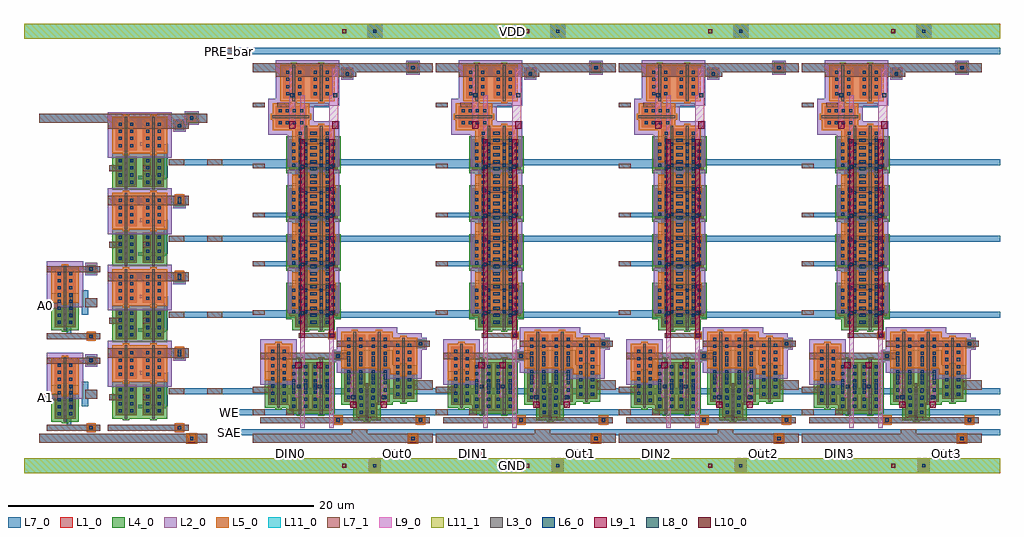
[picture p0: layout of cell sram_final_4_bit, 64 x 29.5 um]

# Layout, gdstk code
from math import pi, radians
import gdstk
lib = gdstk.Library(unit=1e-6, precision=5e-10)
def R(c, l, rs):  # rectangles x0, y0, x1, y1
    for r in rs: c.add(gdstk.rectangle(r[:2], r[2:], *l))
def A(c, l, x, y, w, h, nx, ny, dx, dy):  # array of equal rectangles
    R(c, l, [(x+i*dx, y+j*dy, x+i*dx+w, y+j*dy+h) for i in range(nx) for j in range(ny)])
L1_0 = (1, 0)
L2_0 = (2, 0)
L3_0 = (3, 0)
L4_0 = (4, 0)
L5_0 = (5, 0)
L6_0 = (6, 0)
L7_0 = (7, 0)
L7_1 = (7, 1)
L8_0 = (8, 0)
L9_0 = (9, 0)
L9_1 = (9, 1)
L10_0 = (10, 0)
L11_0 = (11, 0)
L11_1 = (11, 1)

pmos_cdns_793954044460 = lib.new_cell('pmos_CDNS_793954044460')
R(pmos_cdns_793954044460, L1_0, [(-0.6,0,0,2), (0,0,0.18,2), (0.18,0,0.78,2)])
R(pmos_cdns_793954044460, L2_0, [(-1.1,-0.5,1.28,2.5)])
R(pmos_cdns_793954044460, L3_0, [(0,-0.205,0.18,-0.2), (0,-0.2,0.18,0), (0,0,0.18,2), (0,2,0.18,2.2), (0,2.2,0.18,2.205)])
R(pmos_cdns_793954044460, L5_0, [(-0.12,-0.325,0.3,-0.2), (-0.8,-0.2,0.98,2.2), (-0.12,2.2,0.3,2.325)])
A(pmos_cdns_793954044460, L6_0, -0.4, 0.67, 0.2, 0.2, 1, 3, 0, 0.465)
A(pmos_cdns_793954044460, L6_0, 0.38, 0.67, 0.2, 0.2, 1, 3, 0, 0.465)
R(pmos_cdns_793954044460, L6_0, [(-0.4,0.2,-0.2,0.4), (0.38,0.2,0.58,0.4)])
R(pmos_cdns_793954044460, L7_0, [(-0.5,0.1,-0.1,1.9), (0.28,0.1,0.68,1.9)])

nmos_cdns_793954044461 = lib.new_cell('nmos_CDNS_793954044461')
R(nmos_cdns_793954044461, L1_0, [(-0.6,0,0,2), (0,0,0.18,2), (0.18,0,0.78,2)])
R(nmos_cdns_793954044461, L3_0, [(0,-0.205,0.18,-0.2), (0,-0.2,0.18,0), (0,0,0.18,2), (0,2,0.18,2.2), (0,2.2,0.18,2.205)])
R(nmos_cdns_793954044461, L4_0, [(-0.12,-0.325,0.3,-0.2), (-0.8,-0.2,0.98,2.2), (-0.12,2.2,0.3,2.325)])
A(nmos_cdns_793954044461, L6_0, -0.4, 0.67, 0.2, 0.2, 1, 3, 0, 0.465)
A(nmos_cdns_793954044461, L6_0, 0.38, 0.67, 0.2, 0.2, 1, 3, 0, 0.465)
R(nmos_cdns_793954044461, L6_0, [(-0.4,0.2,-0.2,0.4), (0.38,0.2,0.58,0.4)])
R(nmos_cdns_793954044461, L7_0, [(-0.5,0.1,-0.1,1.9), (0.28,0.1,0.68,1.9)])

inverter = lib.new_cell('inverter')
R(inverter, L1_0, [(2.2,-0.2,2.6,0.2), (2.2,4.2,2.6,4.6)])
R(inverter, L2_0, [(2,4,2.8,4.8)])
R(inverter, L3_0, [(1,1.2,1.2,2.8)])
R(inverter, L4_0, [(2.1,4.1,2.7,4.7)])
R(inverter, L5_0, [(2.1,-0.3,2.7,0.3)])
R(inverter, L6_0, [(2.29,-0.11,2.51,0.11), (2.29,4.29,2.51,4.51)])
R(inverter, L7_0, [(-0.5,-0.2,3,0.2), (-0.5,-0.2,3,0.2), (2.2,-0.2,2.6,0.2), (0.8,0.2,1.1,0.8), (1.8,1.4,2.2,3), (-0.4,1.8,0.2,2.2), (-0.4,1.8,0.8,2.2), (2,1.9,2.8,2.5), (0.8,3.6,1.1,4.2), (-0.5,4.2,3,4.6), (-0.5,4.2,3,4.6), (2.2,4.2,2.6,4.6)])
R(inverter, L7_1, [(-0.5,-0.2,3,0.2), (-0.4,1.8,0.2,2.2), (2,1.9,2.8,2.5), (-0.5,4.2,3,4.6)])
inverter.add(gdstk.Reference(pmos_cdns_793954044460, (0.6,2.4)))
inverter.add(gdstk.Reference(nmos_cdns_793954044461, (0.6,0.6)))
inverter.add(gdstk.Label('Inv_OUT', (2.4,2.2), layer=7, texttype=3))
inverter.add(gdstk.Label('Inv_IN', (-0.1,2), layer=7, texttype=3))
inverter.add(gdstk.Label('GND', (1.25,0), layer=7, texttype=3))
inverter.add(gdstk.Label('VDD', (1.25,4.4), layer=7, texttype=3))

c_2_input_nor = lib.new_cell('2_input_NOR')
R(c_2_input_nor, L1_0, [(4,-0.2,4.4,0.2), (4,4.6,4.4,5)])
R(c_2_input_nor, L2_0, [(3.8,4.4,4.6,5.2)])
R(c_2_input_nor, L4_0, [(3.9,4.5,4.5,5.1)])
R(c_2_input_nor, L5_0, [(3.9,-0.3,4.5,0.3)])
R(c_2_input_nor, L6_0, [(4.09,-0.11,4.31,0.11), (4.09,4.69,4.31,4.91)])
R(c_2_input_nor, L7_0, [(-0.5,-0.2,4.8,0.2), (-0.5,-0.2,4.8,0.2), (4,-0.2,4.4,0.2), (1.5,1.28,3.3,1.52), (3.18,1.4,3.42,3.6), (-0.4,1.8,0.4,2.2), (1.8,1.8,2.3,2.2), (3.5,2.2,4.5,2.6), (1.6,3.48,2.4,3.72), (-0.5,4.6,4.8,5), (-0.5,4.6,4.8,5), (4,4.6,4.4,5)])
R(c_2_input_nor, L7_1, [(-0.5,-0.2,4.8,0.2), (-0.4,1.8,0.4,2.2), (1.8,1.8,2.3,2.2), (3.5,2.2,4.5,2.6), (-0.5,4.6,4.8,5)])
c_2_input_nor.add(gdstk.Reference(pmos_cdns_793954044460, (2.4,3.2)))
c_2_input_nor.add(gdstk.Reference(pmos_cdns_793954044460, (0.6,3.2)))
c_2_input_nor.add(gdstk.Reference(nmos_cdns_793954044461, (2.4,0.8)))
c_2_input_nor.add(gdstk.Reference(nmos_cdns_793954044461, (0.6,0.8)))
c_2_input_nor.add(gdstk.Label('B', (2.05,2), layer=7, texttype=3))
c_2_input_nor.add(gdstk.Label('A', (0,2), layer=7, texttype=3))
c_2_input_nor.add(gdstk.Label('OUT', (4,2.4), layer=7, texttype=3))
c_2_input_nor.add(gdstk.Label('GND', (2.15,0), layer=7, texttype=3))
c_2_input_nor.add(gdstk.Label('VDD', (2.15,4.8), layer=7, texttype=3))

row_decoder_2to4 = lib.new_cell('row_decoder_2to4')
R(row_decoder_2to4, L1_0, [(8.75,-0.95,9.25,-0.45), (8.75,20.05,9.25,20.55)])
R(row_decoder_2to4, L2_0, [(8.55,19.85,9.45,20.75)])
R(row_decoder_2to4, L4_0, [(8.65,19.95,9.35,20.65)])
R(row_decoder_2to4, L5_0, [(8.65,-1.05,9.35,-0.35)])
R(row_decoder_2to4, L6_0, [(8.89,-0.81,9.11,-0.59), (8.89,20.19,9.11,20.41)])
A(row_decoder_2to4, L7_0, 8.5, 2.2, 2.5, 0.4, 1, 4, 0, 5)
A(row_decoder_2to4, L7_0, 10, 2.2, 1, 0.4, 1, 4, 0, 5)
R(row_decoder_2to4, L7_0, [(-1,-1,10,-0.4), (-1,-1,10,-0.4), (8.75,-0.95,9.25,-0.45), (-1,1.8,-0.2,2.2), (-1,7.8,-0.2,8.2), (-1,20,10,20.6), (-1,20,10,20.6), (8.75,20.05,9.25,20.55)])
A(row_decoder_2to4, L7_1, 10, 2.2, 1, 0.4, 1, 4, 0, 5)
R(row_decoder_2to4, L7_1, [(-1,-1,10,-0.4), (-1,1.8,-0.2,2.2), (-1,7.8,-0.2,8.2), (-1,20,10,20.6)])
row_decoder_2to4.add(gdstk.Reference(inverter, (0,0)))
row_decoder_2to4.add(gdstk.Reference(inverter, (0,6)))
row_decoder_2to4.add(gdstk.Reference(c_2_input_nor, (4,0)))
row_decoder_2to4.add(gdstk.Reference(c_2_input_nor, (4,5)))
row_decoder_2to4.add(gdstk.Reference(c_2_input_nor, (4,10)))
row_decoder_2to4.add(gdstk.Reference(c_2_input_nor, (4,15)))
row_decoder_2to4.add(gdstk.Label('A1', (-0.6,2), layer=7, texttype=3))
row_decoder_2to4.add(gdstk.Label('A0', (-0.6,8), layer=7, texttype=3))
row_decoder_2to4.add(gdstk.Label('WL3', (10.5,2.4), layer=7, texttype=3))
row_decoder_2to4.add(gdstk.Label('WL2', (10.5,7.4), layer=7, texttype=3))
row_decoder_2to4.add(gdstk.Label('WL1', (10.5,12.4), layer=7, texttype=3))
row_decoder_2to4.add(gdstk.Label('WL0', (10.5,17.4), layer=7, texttype=3))
row_decoder_2to4.add(gdstk.Label('GND', (4.5,-0.7), layer=7, texttype=3))
row_decoder_2to4.add(gdstk.Label('VDD', (4.5,20.3), layer=7, texttype=3))

sram_cell_6t = lib.new_cell('sram_cell_6t')
R(sram_cell_6t, L1_0, [(2.05,-0.1,2.35,0.2), (0.05,3,0.35,3.3)])
R(sram_cell_6t, L2_0, [(-0.15,2.8,0.55,3.5)])
R(sram_cell_6t, L4_0, [(-0.05,2.9,0.45,3.4)])
R(sram_cell_6t, L5_0, [(1.95,-0.2,2.45,0.3)])
R(sram_cell_6t, L6_0, [(2.09,-0.06,2.31,0.16), (0.09,3.04,0.31,3.26)])
R(sram_cell_6t, L7_0, [(0,-0.1,2.4,0.2), (0,-0.1,2.4,0.2), (2.05,-0.1,2.35,0.2), (0.6,0.88,1.6,1.12), (0,1.4,2.4,1.7), (0,1.4,2.4,1.7), (0.6,2.28,1.6,2.52), (0,3,2.4,3.3), (0,3,2.4,3.3), (0.05,3,0.35,3.3)])
R(sram_cell_6t, L7_1, [(0,-0.1,2.4,0.2), (0,1.4,2.4,1.7), (0,3,2.4,3.3)])
R(sram_cell_6t, L8_0, [(0.12,1.37,0.38,1.63), (2.02,1.37,2.28,1.63)])
R(sram_cell_6t, L9_0, [(0.1,-0.1,0.4,3.3), (0.1,-0.1,0.4,3.3), (2,-0.1,2.3,3.3), (2,-0.1,2.3,3.3)])
R(sram_cell_6t, L9_1, [(0.1,-0.1,0.4,3.3), (2,-0.1,2.3,3.3)])
sram_cell_6t.add(gdstk.Reference(pmos_cdns_793954044460, (1.4,2)))
sram_cell_6t.add(gdstk.Reference(pmos_cdns_793954044460, (0.4,2)))
sram_cell_6t.add(gdstk.Reference(nmos_cdns_793954044461, (1.8,1.3)))
sram_cell_6t.add(gdstk.Reference(nmos_cdns_793954044461, (0,1.3)))
sram_cell_6t.add(gdstk.Reference(nmos_cdns_793954044461, (1.4,0.6)))
sram_cell_6t.add(gdstk.Reference(nmos_cdns_793954044461, (0.4,0.6)))
sram_cell_6t.add(gdstk.Label('WL', (1.2,1.55), layer=7, texttype=3))
sram_cell_6t.add(gdstk.Label('GND', (1.2,0.05), layer=7, texttype=3))
sram_cell_6t.add(gdstk.Label('VDD', (1.2,3.15), layer=7, texttype=3))
sram_cell_6t.add(gdstk.Label('BL_bar', (2.15,1.6), layer=9, texttype=3))
sram_cell_6t.add(gdstk.Label('BL', (0.25,1.6), layer=9, texttype=3))

precharge_unit = lib.new_cell('precharge_unit')
R(precharge_unit, L1_0, [(4,3.2,4.4,3.6)])
R(precharge_unit, L2_0, [(3.8,3,4.6,3.8)])
R(precharge_unit, L4_0, [(3.9,3.1,4.5,3.7)])
R(precharge_unit, L6_0, [(4.09,3.29,4.31,3.51)])
R(precharge_unit, L7_0, [(-0.4,1.2,0.4,1.5), (-0.4,1.2,3,1.5), (0.8,2.8,1.1,3.2), (2.6,2.8,2.9,3.2), (-0.5,3.2,4.8,3.6), (-0.5,3.2,4.8,3.6), (4,3.2,4.4,3.6)])
R(precharge_unit, L7_1, [(-0.4,1.2,0.4,1.5), (-0.5,3.2,4.8,3.6)])
R(precharge_unit, L8_0, [(0.47,1.87,0.73,2.13), (3.27,1.87,3.53,2.13)])
R(precharge_unit, L9_0, [(0.4,-0.2,0.8,0.3), (0.4,-0.2,0.8,3.8), (3.2,-0.2,3.6,0.3), (3.2,-0.2,3.6,3.8)])
R(precharge_unit, L9_1, [(0.4,-0.2,0.8,0.3), (3.2,-0.2,3.6,0.3)])
precharge_unit.add(gdstk.Reference(pmos_cdns_793954044460, (1.5,0.5), rotation=pi/2))
precharge_unit.add(gdstk.Reference(pmos_cdns_793954044460, (2.4,1.8)))
precharge_unit.add(gdstk.Reference(pmos_cdns_793954044460, (0.6,1.8)))
precharge_unit.add(gdstk.Label('PRE_bar', (0,1.35), layer=7, texttype=3))
precharge_unit.add(gdstk.Label('VDD', (2.15,3.4), layer=7, texttype=3))
precharge_unit.add(gdstk.Label('BL_bar', (3.4,0.05), layer=9, texttype=3))
precharge_unit.add(gdstk.Label('BL', (0.6,0.05), layer=9, texttype=3))

write_driver = lib.new_cell('write_driver')
R(write_driver, L1_0, [(4.4,-0.2,4.8,0.2), (4.4,4,4.8,4.4)])
R(write_driver, L2_0, [(4.2,3.8,5,4.6)])
R(write_driver, L4_0, [(4.3,3.9,4.9,4.5)])
R(write_driver, L5_0, [(4.3,-0.3,4.9,0.3)])
R(write_driver, L6_0, [(4.49,-0.11,4.71,0.11), (4.49,4.09,4.71,4.31)])
R(write_driver, L7_0, [(-0.5,-0.2,5.2,0.2), (-0.5,-0.2,5.2,0.2), (4.4,-0.2,4.8,0.2), (1.2,0.3,1.7,0.7), (-0.4,1.8,0.3,2.2), (-0.5,4,5.2,4.4), (-0.5,4,5.2,4.4), (4.4,4,4.8,4.4)])
R(write_driver, L7_1, [(-0.5,-0.2,5.2,0.2), (1.2,0.3,1.7,0.7), (-0.4,1.8,0.3,2.2), (-0.5,4,5.2,4.4)])
R(write_driver, L8_0, [(1.87,2.07,2.13,2.33), (3.27,2.07,3.53,2.33)])
R(write_driver, L9_0, [(1.8,1.5,2.2,3.8), (3.2,1.5,3.6,3.8), (1.8,3.4,2.2,3.8), (3.2,3.4,3.6,3.8)])
R(write_driver, L9_1, [(1.8,3.4,2.2,3.8), (3.2,3.4,3.6,3.8)])
write_driver.add(gdstk.Reference(pmos_cdns_793954044460, (0.6,2.8)))
write_driver.add(gdstk.Reference(nmos_cdns_793954044461, (3.4,0.6)))
write_driver.add(gdstk.Reference(nmos_cdns_793954044461, (3.4,1.8)))
write_driver.add(gdstk.Reference(nmos_cdns_793954044461, (2,0.6)))
write_driver.add(gdstk.Reference(nmos_cdns_793954044461, (2,1.8)))
write_driver.add(gdstk.Reference(nmos_cdns_793954044461, (0.6,1)))
write_driver.add(gdstk.Label('WE', (1.45,0.5), layer=7, texttype=3))
write_driver.add(gdstk.Label('DIN', (-0.05,2), layer=7, texttype=3))
write_driver.add(gdstk.Label('GND', (2.35,0), layer=7, texttype=3))
write_driver.add(gdstk.Label('VDD', (2.35,4.2), layer=7, texttype=3))
write_driver.add(gdstk.Label('BL_bar', (3.4,3.6), layer=9, texttype=3))
write_driver.add(gdstk.Label('BL', (2,3.6), layer=9, texttype=3))

sense_amp = lib.new_cell('sense_amp')
R(sense_amp, L1_0, [(4.8,-0.2,5.2,0.2), (4.8,4.8,5.2,5.2)])
R(sense_amp, L2_0, [(4.6,4.6,5.4,5.4)])
R(sense_amp, L4_0, [(4.7,4.7,5.3,5.3)])
R(sense_amp, L5_0, [(4.7,-0.3,5.3,0.3)])
R(sense_amp, L6_0, [(4.89,-0.11,5.11,0.11), (4.89,4.89,5.11,5.11)])
R(sense_amp, L7_0, [(-0.5,-0.2,5.6,0.2), (-0.5,-0.2,5.6,0.2), (4.8,-0.2,5.2,0.2), (1,0,1.5,0.3), (4.6,2,5.2,2.6), (4.6,2,5.2,2.6), (-0.5,4.8,5.6,5.2), (-0.5,4.8,5.6,5.2), (4.8,4.8,5.2,5.2)])
R(sense_amp, L7_1, [(-0.5,-0.2,5.6,0.2), (1,0,1.5,0.3), (4.6,2,5.2,2.6), (-0.5,4.8,5.6,5.2)])
R(sense_amp, L8_0, [(0.47,1.37,0.73,1.63), (2.47,1.37,2.73,1.63)])
R(sense_amp, L9_0, [(0.4,0.8,0.8,1.2), (0.4,0.8,0.8,3), (2.4,0.8,2.8,1.2), (2.4,0.8,2.8,3)])
R(sense_amp, L9_1, [(0.4,0.8,0.8,1.2), (2.4,0.8,2.8,1.2)])
sense_amp.add(gdstk.Reference(nmos_cdns_793954044461, (3.8,1.4)))
sense_amp.add(gdstk.Reference(nmos_cdns_793954044461, (1.4,0.2)))
sense_amp.add(gdstk.Reference(nmos_cdns_793954044461, (2.2,2.4)))
sense_amp.add(gdstk.Reference(nmos_cdns_793954044461, (0.6,2.4)))
sense_amp.add(gdstk.Reference(nmos_cdns_793954044461, (2.2,1.2)))
sense_amp.add(gdstk.Reference(nmos_cdns_793954044461, (0.6,1.2)))
sense_amp.add(gdstk.Reference(pmos_cdns_793954044460, (3.8,3.2)))
sense_amp.add(gdstk.Reference(pmos_cdns_793954044460, (2.2,3.6)))
sense_amp.add(gdstk.Reference(pmos_cdns_793954044460, (0.6,3.6)))
sense_amp.add(gdstk.Label('Out', (4.9,2.3), layer=7, texttype=3))
sense_amp.add(gdstk.Label('SAE', (1.25,0.15), layer=7, texttype=3))
sense_amp.add(gdstk.Label('GND', (2.55,0), layer=7, texttype=3))
sense_amp.add(gdstk.Label('VDD', (2.55,5), layer=7, texttype=3))
sense_amp.add(gdstk.Label('BL_bar', (2.6,1), layer=9, texttype=3))
sense_amp.add(gdstk.Label('BL', (0.6,1), layer=9, texttype=3))

sram_core_array = lib.new_cell('sram_core_array')
R(sram_core_array, L1_0, [(9.25,-0.95,9.75,-0.45), (9.25,23.35,9.75,23.85)])
R(sram_core_array, L2_0, [(9.05,23.15,9.95,24.05)])
R(sram_core_array, L4_0, [(9.15,23.25,9.85,23.95)])
R(sram_core_array, L5_0, [(9.15,-1.05,9.85,-0.35)])
R(sram_core_array, L6_0, [(9.39,-0.81,9.61,-0.59), (9.39,23.49,9.61,23.71)])
A(sram_core_array, L7_0, -1, 7.4, 0.8, 0.3, 1, 4, 0, 3.2)
A(sram_core_array, L7_0, -1, 7.4, 3, 0.3, 1, 4, 0, 3.2)
R(sram_core_array, L7_0, [(-1,-1,10.8,-0.4), (-1,-1,10.8,-0.4), (9.25,-0.95,9.75,-0.45), (5.5,-0.5,6.5,-0.1), (-1,0.8,-0.2,1.2), (-1,2.3,-0.2,2.7), (10,2.5,10.8,3.1), (-1,21,-0.2,21.3), (-1,23.3,10.8,23.9), (-1,23.3,10.8,23.9), (9.25,23.35,9.75,23.85)])
A(sram_core_array, L7_1, -1, 7.4, 0.8, 0.3, 1, 4, 0, 3.2)
R(sram_core_array, L7_1, [(-1,-1,10.8,-0.4), (5.5,-0.5,6.5,-0.1), (-1,0.8,-0.2,1.2), (-1,2.3,-0.2,2.7), (10,2.5,10.8,3.1), (-1,21,-0.2,21.3), (-1,23.3,10.8,23.9)])
R(sram_core_array, L9_0, [(2.1,0,2.4,21.8), (4,0,4.3,21.8)])
sram_core_array.add(gdstk.Reference(sram_cell_6t, (2,6)))
sram_core_array.add(gdstk.Reference(sram_cell_6t, (2,9.2)))
sram_core_array.add(gdstk.Reference(sram_cell_6t, (2,12.4)))
sram_core_array.add(gdstk.Reference(sram_cell_6t, (2,15.6)))
sram_core_array.add(gdstk.Reference(precharge_unit, (1,19.8)))
sram_core_array.add(gdstk.Reference(write_driver, (0,0.5)))
sram_core_array.add(gdstk.Reference(sense_amp, (5,0.5)))
sram_core_array.add(gdstk.Label('GND', (4.9,-0.7), layer=7, texttype=3))
sram_core_array.add(gdstk.Label('VDD', (4.9,23.6), layer=7, texttype=3))
sram_core_array.add(gdstk.Label('Out', (10.4,2.8), layer=7, texttype=3))
sram_core_array.add(gdstk.Label('SAE', (6,-0.3), layer=7, texttype=3))
sram_core_array.add(gdstk.Label('WE', (-0.6,1), layer=7, texttype=3))
sram_core_array.add(gdstk.Label('DIN', (-0.6,2.5), layer=7, texttype=3))
sram_core_array.add(gdstk.Label('PRE_bar', (-0.6,21.15), layer=7, texttype=3))
sram_core_array.add(gdstk.Label('WL3', (-0.6,7.55), layer=7, texttype=3))
sram_core_array.add(gdstk.Label('WL2', (-0.6,10.75), layer=7, texttype=3))
sram_core_array.add(gdstk.Label('WL1', (-0.6,13.95), layer=7, texttype=3))
sram_core_array.add(gdstk.Label('WL0', (-0.6,17.15), layer=7, texttype=3))

sram_final_4_bit = lib.new_cell('sram_final_4_bit')
A(sram_final_4_bit, L1_0, 20.7, -2.8, 0.6, 0.6, 4, 2, 12, 28.5)
A(sram_final_4_bit, L2_0, 20.5, 25.5, 1, 1, 4, 1, 12, 0)
A(sram_final_4_bit, L4_0, 20.6, 25.6, 0.8, 0.8, 4, 1, 12, 0)
A(sram_final_4_bit, L5_0, 20.6, -2.9, 0.8, 0.8, 4, 1, 12, 0)
A(sram_final_4_bit, L6_0, 20.89, -2.61, 0.22, 0.22, 4, 2, 12, 28.5)
A(sram_final_4_bit, L7_0, 20.7, -2.8, 0.6, 0.6, 4, 2, 12, 28.5)
A(sram_final_4_bit, L7_0, 10, 2.2, 52, 0.4, 1, 4, 0, 5)
R(sram_final_4_bit, L7_0, [(15,-2,16,-1.4), (22,-2,23,-1.4), (27,-2,28,-1.4), (34,-2,35,-1.4), (39,-2,40,-1.4), (46,-2,47,-1.4), (51,-2,52,-1.4), (58,-2,59,-1.4), (11,-0.5,12,-0.1), (12,-0.5,62,-0.1), (11,0.8,12,1.2), (12,0.8,62,1.2), (-1,1.8,-0.2,2.2), (-1,7.8,-0.2,8.2), (11,24.5,12,24.9), (12,24.5,62,24.9)])
R(sram_final_4_bit, L7_1, [(15,-2,16,-1.4), (22,-2,23,-1.4), (27,-2,28,-1.4), (34,-2,35,-1.4), (39,-2,40,-1.4), (46,-2,47,-1.4), (51,-2,52,-1.4), (58,-2,59,-1.4), (11,-0.5,12,-0.1), (11,0.8,12,1.2), (-1,1.8,-0.2,2.2), (-1,7.8,-0.2,8.2), (11,24.5,12,24.9)])
A(sram_final_4_bit, L10_0, 18.87, -2.63, 0.26, 0.26, 4, 2, 12, 28.5)
R(sram_final_4_bit, L11_0, [(-2,-3,62,-2), (-2,-3,62,-2), (-2,25.5,62,26.5), (-2,25.5,62,26.5)])
R(sram_final_4_bit, L11_1, [(-2,-3,62,-2), (-2,25.5,62,26.5)])
sram_final_4_bit.add(gdstk.Reference(row_decoder_2to4, (0,0)))
sram_final_4_bit.add(gdstk.Reference(sram_core_array, (50,0)))
sram_final_4_bit.add(gdstk.Reference(sram_core_array, (38,0)))
sram_final_4_bit.add(gdstk.Reference(sram_core_array, (26,0)))
sram_final_4_bit.add(gdstk.Reference(sram_core_array, (14,0)))
sram_final_4_bit.add(gdstk.Label('A1', (-0.6,2), layer=7, texttype=3))
sram_final_4_bit.add(gdstk.Label('A0', (-0.6,8), layer=7, texttype=3))
sram_final_4_bit.add(gdstk.Label('PRE_bar', (11.5,24.7), layer=7, texttype=3))
sram_final_4_bit.add(gdstk.Label('SAE', (11.5,-0.3), layer=7, texttype=3))
sram_final_4_bit.add(gdstk.Label('WE', (11.5,1), layer=7, texttype=3))
sram_final_4_bit.add(gdstk.Label('Out3', (58.5,-1.7), layer=7, texttype=3))
sram_final_4_bit.add(gdstk.Label('DIN3', (51.5,-1.7), layer=7, texttype=3))
sram_final_4_bit.add(gdstk.Label('Out2', (46.5,-1.7), layer=7, texttype=3))
sram_final_4_bit.add(gdstk.Label('DIN2', (39.5,-1.7), layer=7, texttype=3))
sram_final_4_bit.add(gdstk.Label('Out1', (34.5,-1.7), layer=7, texttype=3))
sram_final_4_bit.add(gdstk.Label('DIN1', (27.5,-1.7), layer=7, texttype=3))
sram_final_4_bit.add(gdstk.Label('Out0', (22.5,-1.7), layer=7, texttype=3))
sram_final_4_bit.add(gdstk.Label('DIN0', (15.5,-1.7), layer=7, texttype=3))
sram_final_4_bit.add(gdstk.Label('GND', (30,-2.5), layer=11, texttype=3))
sram_final_4_bit.add(gdstk.Label('VDD', (30,26), layer=11, texttype=3))

lib.write_gds('sram_final_4_bit.gds')
